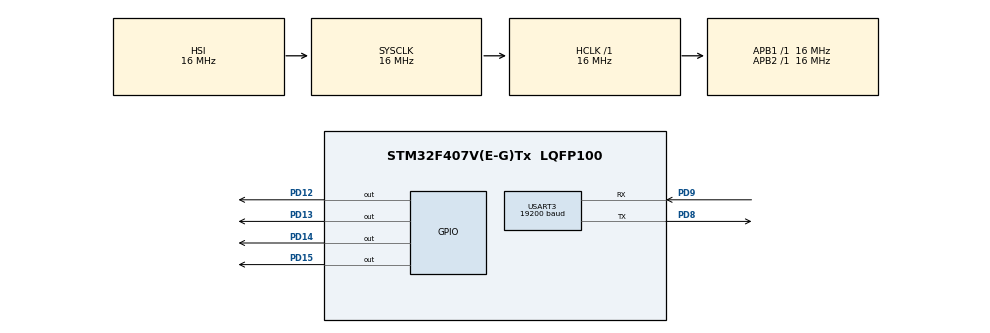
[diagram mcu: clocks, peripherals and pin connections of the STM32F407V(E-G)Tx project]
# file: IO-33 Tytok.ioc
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Mcu.Family=STM32F4
Mcu.Name=STM32F407V(E-G)Tx
Mcu.Package=LQFP100
NVIC.PriorityGroup=NVIC_PRIORITYGROUP_4
PD12.Signal=GPIO_Output
PD13.Signal=GPIO_Output
PD14.Signal=GPIO_Output
PD15.Signal=GPIO_Output
PD8.Mode=Asynchronous
PD8.Signal=USART3_TX
PD9.Mode=Asynchronous
PD9.Signal=USART3_RX
ProjectManager.HeapSize=0x200
ProjectManager.StackSize=0x400
ProjectManager.TargetToolchain=STM32CubeIDE
RCC.AHBFreq_Value=16000000
RCC.APB1Freq_Value=16000000
RCC.APB2Freq_Value=16000000
RCC.CortexFreq_Value=16000000
RCC.HSE_VALUE=25000000
RCC.HSI_VALUE=16000000
RCC.LSE_VALUE=32768
RCC.SYSCLKFreq_VALUE=16000000
RCC.VCOOutputFreq_Value=192000000
USART3.BaudRate=19200
USART3.VirtualMode=VM_ASYNC
board=custom

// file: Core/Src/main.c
/* USER CODE BEGIN Header */
/**
  ******************************************************************************
  * @file           : main.c
  * @brief          : Main program body
  ******************************************************************************
  * @attention
  *
  * Copyright (c) 2026 STMicroelectronics.
  * All rights reserved.
  *
  * This software is licensed under terms that can be found in the LICENSE file
  * in the root directory of this software component.
  * If no LICENSE file comes with this software, it is provided AS-IS.
  *
  ******************************************************************************
  */
/* USER CODE END Header */
#include "main.h"

UART_HandleTypeDef huart3;

void SystemClock_Config(void);
static void MX_GPIO_Init(void);
static void MX_USART3_UART_Init(void);

int main(void)
{

  /* MCU Configuration--------------------------------------------------------*/

  /* Reset of all peripherals, Initializes the Flash interface and the Systick. */
  HAL_Init();

  /* Configure the system clock */
  SystemClock_Config();

  /* Initialize all configured peripherals */
  MX_GPIO_Init();
  MX_USART3_UART_Init();

  /* Infinite loop */
  /* USER CODE BEGIN WHILE */
  while (1)
  {
	  uint8_t rcvBuf[1];
	  HAL_StatusTypeDef result;

	  result = HAL_UART_Receive(&huart3, rcvBuf, 1, 10);

	  if (result == HAL_OK)
	  {
		  switch (rcvBuf[0])
		  {
		  	  case '1':
		  		  HAL_GPIO_TogglePin(GPIOD, GPIO_PIN_12);
		  		  HAL_UART_Transmit(&huart3, (uint8_t *)" - Green changed mode\r\n", 23, 100);
		  		  break;
		  	  case '2':
		  		  HAL_GPIO_TogglePin(GPIOD, GPIO_PIN_13);
		  		  HAL_UART_Transmit(&huart3, (uint8_t *)" - Orange changed mode\r\n", 24, 100);
		  		  break;
		  	  case '3':
		  		  HAL_GPIO_TogglePin(GPIOD, GPIO_PIN_14);
		  		  HAL_UART_Transmit(&huart3, (uint8_t *)" - Red changed mode\r\n", 21, 100);
		  		  break;
		  	  case '4':
		  		  HAL_GPIO_TogglePin(GPIOD, GPIO_PIN_15);
		  		  HAL_UART_Transmit(&huart3, (uint8_t *)" - Blue changed mode\r\n", 22, 100);
		  		  break;
		  	  case '5':
		  		  HAL_GPIO_WritePin(GPIOD, GPIO_PIN_12, GPIO_PIN_SET);
		  		  HAL_GPIO_WritePin(GPIOD, GPIO_PIN_13, GPIO_PIN_SET);
		  		  HAL_GPIO_WritePin(GPIOD, GPIO_PIN_14, GPIO_PIN_SET);
		  		  HAL_GPIO_WritePin(GPIOD, GPIO_PIN_15, GPIO_PIN_SET);
		  		  HAL_UART_Transmit(&huart3, (uint8_t *)" - All ON\r\n", 11, 100);
		  		  break;
		  	  case '6':
		  		  HAL_GPIO_WritePin(GPIOD, GPIO_PIN_12, GPIO_PIN_RESET);
		  		  HAL_GPIO_WritePin(GPIOD, GPIO_PIN_13, GPIO_PIN_RESET);
		  		  HAL_GPIO_WritePin(GPIOD, GPIO_PIN_14, GPIO_PIN_RESET);
		  		  HAL_GPIO_WritePin(GPIOD, GPIO_PIN_15, GPIO_PIN_RESET);
		  		  HAL_UART_Transmit(&huart3, (uint8_t *)" - All OFF\r\n", 12, 100);
		  		  break;
		  	  default:
		  		  HAL_UART_Transmit(&huart3, (uint8_t *)" - UnexpCmd\r\n", 13, 100);
		  		  break;
		  }
	  }
    /* USER CODE END WHILE */

  }
}

void SystemClock_Config(void)
{
  RCC_OscInitTypeDef RCC_OscInitStruct = {0};
  RCC_ClkInitTypeDef RCC_ClkInitStruct = {0};

  /** Configure the main internal regulator output voltage
  */
  __HAL_RCC_PWR_CLK_ENABLE();
  __HAL_PWR_VOLTAGESCALING_CONFIG(PWR_REGULATOR_VOLTAGE_SCALE1);

  /** Initializes the RCC Oscillators according to the specified parameters
  * in the RCC_OscInitTypeDef structure.
  */
  RCC_OscInitStruct.OscillatorType = RCC_OSCILLATORTYPE_HSI;
  RCC_OscInitStruct.HSIState = RCC_HSI_ON;
  RCC_OscInitStruct.HSICalibrationValue = RCC_HSICALIBRATION_DEFAULT;
  RCC_OscInitStruct.PLL.PLLState = RCC_PLL_NONE;
  if (HAL_RCC_OscConfig(&RCC_OscInitStruct) != HAL_OK)
  {
    Error_Handler();
  }

  /** Initializes the CPU, AHB and APB buses clocks
  */
  RCC_ClkInitStruct.ClockType = RCC_CLOCKTYPE_HCLK|RCC_CLOCKTYPE_SYSCLK
                              |RCC_CLOCKTYPE_PCLK1|RCC_CLOCKTYPE_PCLK2;
  RCC_ClkInitStruct.SYSCLKSource = RCC_SYSCLKSOURCE_HSI;
  RCC_ClkInitStruct.AHBCLKDivider = RCC_SYSCLK_DIV1;
  RCC_ClkInitStruct.APB1CLKDivider = RCC_HCLK_DIV1;
  RCC_ClkInitStruct.APB2CLKDivider = RCC_HCLK_DIV1;

  if (HAL_RCC_ClockConfig(&RCC_ClkInitStruct, FLASH_LATENCY_0) != HAL_OK)
  {
    Error_Handler();
  }
}

static void MX_USART3_UART_Init(void)
{

  huart3.Instance = USART3;
  huart3.Init.BaudRate = 19200;
  huart3.Init.WordLength = UART_WORDLENGTH_8B;
  huart3.Init.StopBits = UART_STOPBITS_1;
  huart3.Init.Parity = UART_PARITY_NONE;
  huart3.Init.Mode = UART_MODE_TX_RX;
  huart3.Init.HwFlowCtl = UART_HWCONTROL_NONE;
  huart3.Init.OverSampling = UART_OVERSAMPLING_16;
  if (HAL_UART_Init(&huart3) != HAL_OK)
  {
    Error_Handler();
  }

}

static void MX_GPIO_Init(void)
{
  GPIO_InitTypeDef GPIO_InitStruct = {0};

  /* GPIO Ports Clock Enable */
  __HAL_RCC_GPIOD_CLK_ENABLE();

  /*Configure GPIO pin Output Level */
  HAL_GPIO_WritePin(GPIOD, GPIO_PIN_12|GPIO_PIN_13|GPIO_PIN_14|GPIO_PIN_15, GPIO_PIN_RESET);

  /*Configure GPIO pins : PD12 PD13 PD14 PD15 */
  GPIO_InitStruct.Pin = GPIO_PIN_12|GPIO_PIN_13|GPIO_PIN_14|GPIO_PIN_15;
  GPIO_InitStruct.Mode = GPIO_MODE_OUTPUT_PP;
  GPIO_InitStruct.Pull = GPIO_NOPULL;
  GPIO_InitStruct.Speed = GPIO_SPEED_FREQ_LOW;
  HAL_GPIO_Init(GPIOD, &GPIO_InitStruct);

}

void Error_Handler(void)
{
  __disable_irq();
  while (1)
  {
  }
}
